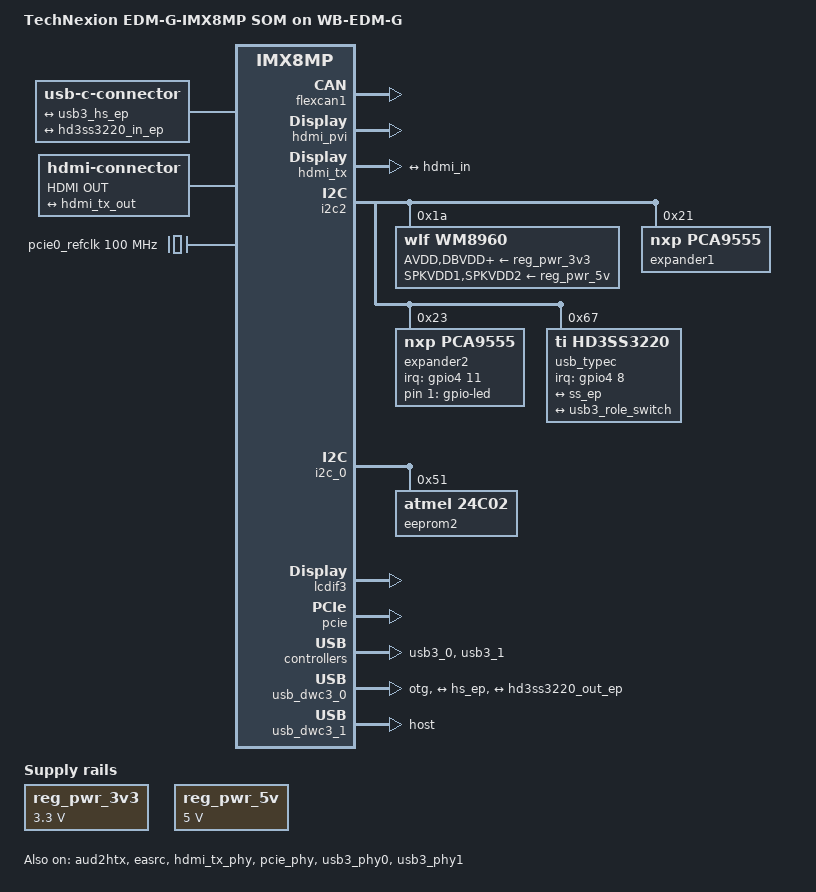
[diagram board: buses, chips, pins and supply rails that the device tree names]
// SPDX-License-Identifier: (GPL-2.0 OR MIT)
/*
 * Copyright 2024 TechNexion Ltd.
 *
 * Author: Ray Chang <ray.chang@technexion.com>
 */

/dts-v1/;

#include <dt-bindings/phy/phy-imx8-pcie.h>
#include "imx8mp-edm-g.dtsi"

/ {
	compatible = "technexion,edm-g-imx8mp-wb", "technexion,edm-g-imx8mp", "fsl,imx8mp";
	model = "TechNexion EDM-G-IMX8MP SOM on WB-EDM-G";

	connector {
		compatible = "usb-c-connector";
		data-role = "dual";
		label = "USB-C";

		ports {
			#address-cells = <1>;
			#size-cells = <0>;

			port@0 {
				reg = <0>;

				hs_ep: endpoint {
					remote-endpoint = <&usb3_hs_ep>;
				};
			};

			port@1 {
				reg = <1>;

				ss_ep: endpoint {
					remote-endpoint = <&hd3ss3220_in_ep>;
				};
			};
		};
	};

	hdmi-connector {
		compatible = "hdmi-connector";
		label = "HDMI OUT";
		type = "a";

		port {
			hdmi_in: endpoint {
				remote-endpoint = <&hdmi_tx_out>;
			};
		};
	};

	leds {
		compatible = "gpio-leds";

		led {
			default-state = "on";
			gpios = <&expander2 1 GPIO_ACTIVE_HIGH>;
			label = "gpio-led";
		};
	};

	pcie0_refclk: clock-pcie-ref {
		compatible = "fixed-clock";
		#clock-cells = <0>;
		clock-frequency = <100000000>;
	};

	reg_pwr_3v3: regulator-pwr-3v3 {
		compatible = "regulator-fixed";
		regulator-always-on;
		regulator-boot-on;
		regulator-max-microvolt = <3300000>;
		regulator-min-microvolt = <3300000>;
		regulator-name = "pwr-3v3";
	};

	reg_pwr_5v: regulator-pwr-5v {
		compatible = "regulator-fixed";
		regulator-always-on;
		regulator-boot-on;
		regulator-max-microvolt = <5000000>;
		regulator-min-microvolt = <5000000>;
		regulator-name = "pwr-5v";
	};

	sound-hdmi {
		compatible = "fsl,imx-audio-hdmi";
		audio-cpu = <&aud2htx>;
		hdmi-out;
		model = "audio-hdmi";
	};

	sound-wm8960 {
		compatible = "fsl,imx-audio-wm8960";
		audio-asrc = <&easrc>;
		audio-codec = <&wm8960>;
		audio-cpu = <&sai3>;
		audio-routing = "Headphone Jack", "HP_L",
			"Headphone Jack", "HP_R",
			"Ext Spk", "SPK_LP",
			"Ext Spk", "SPK_LN",
			"Ext Spk", "SPK_RP",
			"Ext Spk", "SPK_RN",
			"LINPUT1", "Mic Jack",
			"LINPUT1", "Mic Jack",
			"Mic Jack", "MICB";
		model = "wm8960-audio";
	};
};

&aud2htx {
	status = "okay";
};

&easrc {
	fsl,asrc-rate  = <48000>;
	status = "okay";
};

&flexcan1 {
	status = "okay";
};

&gpio1 {
	gpio-line-names =
		"", "", "", "", "", "", "DSI_RST", "",
		"", "", "", "", "", "PCIE_CLKREQ_N", "", "",
		"", "", "", "", "", "", "", "",
		"", "", "", "", "", "", "", "";
	pinctrl-0 = <&pinctrl_gpio1>;
};

&gpio4 {
	gpio-line-names =
		"", "", "", "", "", "", "GPIO_P249", "GPIO_P251",
		"", "GPIO_P255", "", "", "", "", "", "",
		"DSI_BL_EN", "DSI_VDDEN", "", "", "", "", "", "",
		"", "", "", "", "", "", "", "";
	pinctrl-0 = <&pinctrl_gpio4>;
};

&hdmi_pvi {
	status = "okay";
};

&hdmi_tx {
	pinctrl-0 = <&pinctrl_hdmi>;
	pinctrl-names = "default";
	status = "okay";

	ports {
		port@1 {
			hdmi_tx_out: endpoint {
				remote-endpoint = <&hdmi_in>;
			};
		};
	};
};

&hdmi_tx_phy {
	status = "okay";
};

&i2c2 {
	status = "okay";

	wm8960: audio-codec@1a {
		compatible = "wlf,wm8960";
		reg = <0x1a>;
		clocks = <&audio_blk_ctrl IMX8MP_CLK_AUDIOMIX_SAI3_MCLK1>;
		clock-names = "mclk";
		#sound-dai-cells = <0>;
		AVDD-supply = <&reg_pwr_3v3>;
		DBVDD-supply = <&reg_pwr_3v3>;
		DCVDD-supply = <&reg_pwr_3v3>;
		SPKVDD1-supply = <&reg_pwr_5v>;
		SPKVDD2-supply = <&reg_pwr_5v>;
		wlf,gpio-cfg = <1 2>;
		wlf,hp-cfg = <2 2 3>;
		wlf,shared-lrclk;
	};

	expander1: gpio@21 {
		compatible = "nxp,pca9555";
		reg = <0x21>;
		#gpio-cells = <2>;
		gpio-controller;
		gpio-line-names = "EXPOSURE_TRIG_IN1", "FLASH_OUT1",
				  "INFO_TRIG_IN1", "CAM_SHUTTER1", "XVS1",
				  "PWR1_TIME0", "PWR1_TIME1", "PWR1_TIME2",
				  "EXPOSURE_TRIG_IN2", "FLASH_OUT2",
				  "INFO_TRIG_IN2", "CAM_SHUTTER2", "XVS2",
				  "PWR2_TIME0", "PWR2_TIME1", "PWR2_TIME2";
	};

	expander2: gpio@23 {
		compatible = "nxp,pca9555";
		reg = <0x23>;
		#interrupt-cells = <2>;
		interrupt-controller;
		interrupt-parent = <&gpio4>;
		interrupts = <11 IRQ_TYPE_LEVEL_LOW>;
		#gpio-cells = <2>;
		gpio-controller;
		gpio-line-names = "M2_DISABLE_N", "LED_EN", "", "",
				  "", "", "", "USB_OTG_OC",
				  "EXT_GPIO8", "EXT_GPIO9", "", "",
				  "", "CSI1_PDB", "CSI2_PDB", "PD_FAULT";
		pinctrl-0 = <&pinctrl_expander2_irq>;
		pinctrl-names = "default";
	};

	usb_typec: usb-typec@67 {
		compatible = "ti,hd3ss3220";
		reg = <0x67>;
		interrupt-parent = <&gpio4>;
		interrupts = <8 IRQ_TYPE_LEVEL_LOW>;
		pinctrl-0 = <&pinctrl_hd3ss3220_irq>;
		pinctrl-names = "default";

		ports {
			#address-cells = <1>;
			#size-cells = <0>;

			port@0 {
				reg = <0>;

				hd3ss3220_in_ep: endpoint {
					remote-endpoint = <&ss_ep>;
				};
			};

			port@1 {
				reg = <1>;

				hd3ss3220_out_ep: endpoint {
					remote-endpoint = <&usb3_role_switch>;
				};
			};
		};
	};
};

&i2c_0 {
	eeprom2: eeprom@51 {
		compatible = "atmel,24c02";
		reg = <0x51>;
		pagesize = <16>;
	};
};

&lcdif3 {
	status = "okay";
};

&pcie {
	status = "okay";
};

&pcie_phy {
	clocks = <&pcie0_refclk>;
	clock-names = "ref";
	fsl,clkreq-unsupported;
	fsl,refclk-pad-mode = <IMX8_PCIE_REFCLK_PAD_INPUT>;
	status = "okay";
};

&usb3_0 {
	status = "okay";
};

&usb3_1 {
	status = "okay";
};

&usb3_phy0 {
	status = "okay";
};

&usb3_phy1 {
	status = "okay";
};

&usb_dwc3_0 {
	/* dual role is implemented but not a full featured OTG */
	adp-disable;
	dr_mode = "otg";
	hnp-disable;
	role-switch-default-mode = "peripheral";
	srp-disable;
	usb-role-switch;

	ports {
		#address-cells = <1>;
		#size-cells = <0>;

		port@0 {
			reg = <0>;

			usb3_hs_ep: endpoint {
				remote-endpoint = <&hs_ep>;
			};
		};

		port@1 {
			reg = <1>;

			usb3_role_switch: endpoint {
				remote-endpoint = <&hd3ss3220_out_ep>;
			};
		};
	};
};

&usb_dwc3_1 {
	dr_mode = "host";
};

&iomuxc {
	pinctrl_expander2_irq: expander2-irqgrp {
		fsl,pins = <
			MX8MP_IOMUXC_SAI1_TXC__GPIO4_IO11		0x140 /* GPIO_P247 */
		>;
	};

	pinctrl_gpio1: gpio1grp {
		fsl,pins = <
			MX8MP_IOMUXC_GPIO1_IO06__GPIO1_IO06		0x16 /* DSI_RST */
		>;
	};

	pinctrl_gpio4: gpio4grp {
		fsl,pins = <
			MX8MP_IOMUXC_SAI1_RXD4__GPIO4_IO06		0x16 /* GPIO_P249 */
			MX8MP_IOMUXC_SAI1_RXD5__GPIO4_IO07		0x16 /* GPIO_P251 */
			MX8MP_IOMUXC_SAI1_RXD7__GPIO4_IO09		0x16 /* GPIO_P255 */
			MX8MP_IOMUXC_SAI1_TXD4__GPIO4_IO16		0x16 /* DSI_BL_EN */
			MX8MP_IOMUXC_SAI1_TXD5__GPIO4_IO17		0x16 /* DSI_VDDEN */
		>;
	};

	pinctrl_hd3ss3220_irq: hd3ss3220-irqgrp {
		fsl,pins = <
			MX8MP_IOMUXC_SAI1_RXD6__GPIO4_IO08		0x41 /* GPIO_P253 */
		>;
	};

	pinctrl_hdmi: hdmigrp {
		fsl,pins = <
			MX8MP_IOMUXC_HDMI_DDC_SCL__HDMIMIX_HDMI_SCL	0x1c2
			MX8MP_IOMUXC_HDMI_DDC_SDA__HDMIMIX_HDMI_SDA	0x1c2
			MX8MP_IOMUXC_HDMI_CEC__HDMIMIX_HDMI_CEC		0x10
		>;
	};
};
